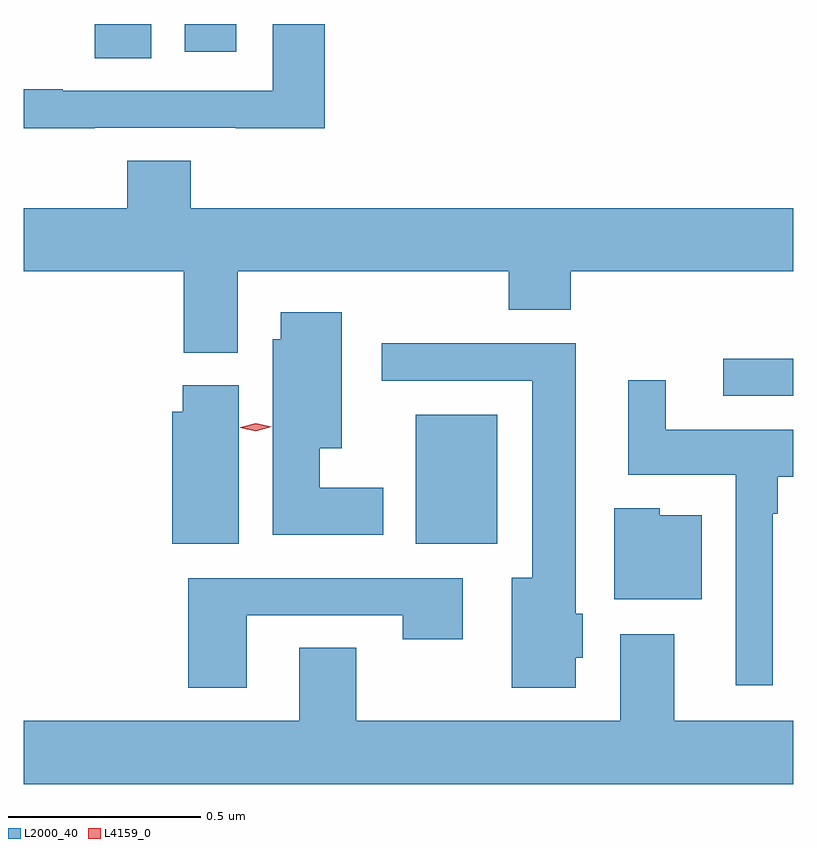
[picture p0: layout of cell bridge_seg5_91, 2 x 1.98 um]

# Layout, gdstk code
import gdstk
lib = gdstk.Library(unit=1e-6, precision=1e-09)
def R(c, l, rs):  # rectangles x0, y0, x1, y1
    for r in rs: c.add(gdstk.rectangle(r[:2], r[2:], *l))
def P(c, l, *ps):  # polygons
    for p in ps: c.add(gdstk.Polygon(p, *l))
L2000_40 = (2000, 40)
L4159_0 = (4159, 0)

bridge_seg5_91 = lib.new_cell('bridge_seg5_91')
R(bridge_seg5_91, L2000_40, [(316.916,884.024,317.128,884.359), (317.715,884.409,317.897,884.505), (316.082,885.286,316.228,885.375), (316.316,885.303,316.45,885.375)])
P(bridge_seg5_91, L2000_40, [(316.082,885.105),(316.448,885.105),(316.448,885.104),(316.679,885.104),(316.679,885.375),(316.544,885.375),(316.544,885.201),(315.998,885.201),(315.998,885.206),(315.897,885.206),(315.897,885.104),(316.082,885.104)],
  [(316.453,884.732),(317.158,884.732),(317.158,884.633),(317.318,884.633),(317.318,884.732),(317.897,884.732),(317.897,884.896),(316.331,884.896),(316.331,885.02),(316.166,885.02),(316.166,884.896),(315.897,884.896),(315.897,884.732),(316.313,884.732),(316.313,884.521),(316.453,884.521)],
  [(316.831,884.17),(316.666,884.17),(316.666,884.273),(316.723,884.273),(316.723,884.626),(316.565,884.626),(316.565,884.556),(316.544,884.556),(316.544,884.048),(316.831,884.048)],
  [(317.332,883.728),(317.35,883.728),(317.35,883.842),(317.332,883.842),(317.332,884.546),(316.827,884.546),(316.827,884.448),(317.219,884.448),(317.219,883.936),(317.165,883.936),(317.165,883.65),(317.332,883.65)],
  [(317.844,884.102),(317.857,884.102),(317.857,884.198),(317.897,884.198),(317.897,884.32),(317.566,884.32),(317.566,884.449),(317.468,884.449),(317.468,884.204),(317.748,884.204),(317.748,883.656),(317.844,883.656)],
  [(316.456,884.436),(316.31,884.436),(316.31,884.368),(316.283,884.368),(316.283,884.024),(316.456,884.024)],
  [(317.659,884.098),(317.55,884.098),(317.55,884.116),(317.432,884.116),(317.432,883.88),(317.659,883.88)],
  [(316.477,883.839),(316.882,883.839),(316.882,883.776),(317.038,883.776),(317.038,883.935),(316.325,883.935),(316.325,883.65),(316.477,883.65)],
  [(317.897,883.564),(317.587,883.564),(317.587,883.789),(317.447,883.789),(317.447,883.564),(316.761,883.564),(316.761,883.754),(316.613,883.754),(316.613,883.564),(315.897,883.564),(315.897,883.4),(317.897,883.4)])
P(bridge_seg5_91, L4159_0, [(316.5,884.317),(316.46,884.326),(316.46,884.326),(316.46,884.327),(316.5,884.337),(316.541,884.328),(316.541,884.328),(316.541,884.328)])

lib.write_gds('bridge_seg5_91.gds')
